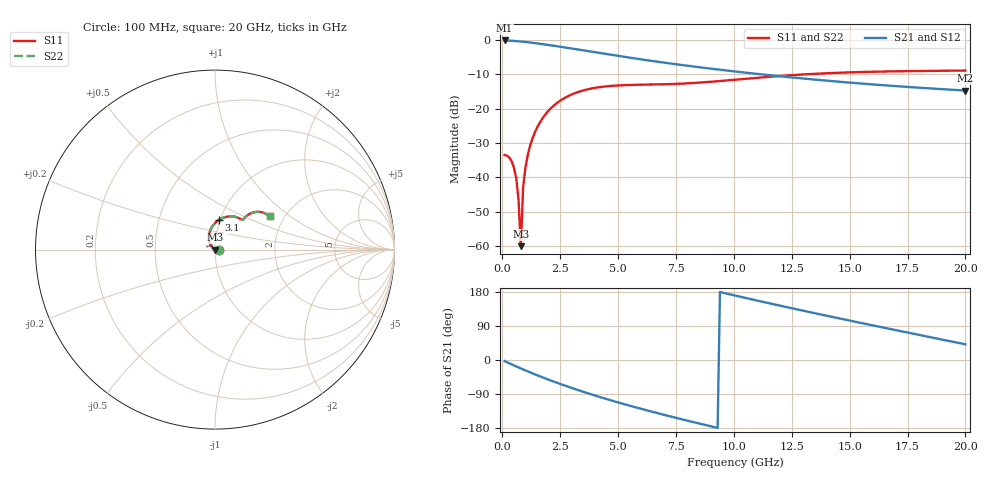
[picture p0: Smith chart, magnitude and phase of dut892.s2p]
! Touchstone file exported from HFSS 2024.1.0
!  File:  C:/UserFiles/LocalFiles/RDL_TSV_Batchsim/temp_RDL_TSV_892_1779932662.aedt
!  Generated:  10:01:57 AM May 28, 2026
!  Design:  RDL_TSV
!  Project:  temp_RDL_TSV_892_1779932662
!  Setup:  Setup1
!  Solution:  Sweep
! Variables:
!  dtsv = 13.18um
!  hbump = 3um
!  htsv = 96.97um
!  ldown = 578.42um
!  lrdl = 695.57um
!  p = 40
!  p1 = 54.1um
!  rhole = 10um
!  subl = 4517.54um
!  t = 450um
!  tdown = 3.63um
!  trdl = 3.08um
!  viad = 10um
!  wdown = 24.77um
!  wrdl = 22.27um
!  xbump = 18um
# GHz S MA R 50.000000
! Terminal data exported
! Port[1] = TM1_1_T1
! Port[2] = TM1_4_T1
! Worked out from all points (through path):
!   200 points, 100 MHz to 20 GHz, reference 50 ohm
!   highest |S21| = -0.20 dB at 100 MHz (marker M1); lowest = -14.7 dB at 20 GHz (marker M2)
!   group delay of S21, straight-line fit = 41.8 ps
!   lowest |S11| = -60.0 dB at 800 MHz (marker M3), VSWR 1.00, Z = 49.9 - j3.09e-05 ohm
!   |S11| at or under -10 dB: start of sweep to 13.2 GHz
!   |S22| runs from -60.0 to -8.9 dB; largest |S21 - S12| = 9.7e-15
!   S11 on the Smith chart (normalised r, x): 100 MHz: 1.04, -0.00; 3.1 GHz: 0.99, +0.33; 20 GHz: 1.68, +0.72
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0.1  0.02111 -1.1  0.9776 -2.9  0.9776 -2.9  0.02112 -1.1
! Gamma 0 0 0 0
! Port Impedance 50 0 50 0
0.4  0.01724 -11.6  0.9672 -11.4  0.9672 -11.4  0.01724 -11.5
0.5  0.01397 -16.4  0.9623 -14.2  0.9623 -14.2  0.01396 -16.3
0.6  0.009789 -21.7  0.9568 -16.9  0.9568 -16.9  0.009768 -21.4
0.7  0.004816 -28.9  0.9507 -19.6  0.9507 -19.6  0.004783 -28.2
0.8  0.001001 -180.0  0.9441 -22.3  0.9441 -22.3  0.001003 175.5
0.9  0.007182 151.9  0.9369 -24.9  0.9369 -24.9  0.007222 151.3
1  0.01396 146.1  0.9293 -27.5  0.9293 -27.5  0.01401 145.7
1.1  0.02117 141.5  0.9213 -30.1  0.9213 -30.1  0.02123 141.2
1.3  0.03654 133.5  0.9045 -35.2  0.9045 -35.2  0.03662 133.3
1.6  0.0609 122.7  0.8776 -42.5  0.8776 -42.5  0.06102 122.6
2  0.09335 110.1  0.8402 -52.0  0.8402 -52.0  0.09351 110.0
2.5  0.1303 96.4  0.7931 -63.2  0.7931 -63.2  0.1305 96.3
3.1  0.1658 82.8  0.7377 -75.9  0.7377 -75.9  0.1661 82.8
3.5  0.1837 75.3  0.7022 -84.0  0.7022 -84.0  0.184 75.2
5.1  0.2179 55.2  0.5766 -113.7  0.5766 -113.7  0.2182 55.1
6.8  0.2249 47.4  0.4748 -141.7  0.4748 -141.7  0.2251 47.3
8.3  0.2359 46.8  0.407 -164.6  0.407 -164.6  0.236 46.7
10.1  0.2635 46.6  0.3448 169.4  0.3448 169.4  0.2635 46.5
13.4  0.319 41.3  0.2657 124.7  0.2657 124.7  0.319 41.2
16.7  0.3468 34.9  0.2155 82.5  0.2155 82.5  0.347 34.9
20  0.3576 31.7  0.1831 41.4  0.1831 41.4  0.3577 31.7
